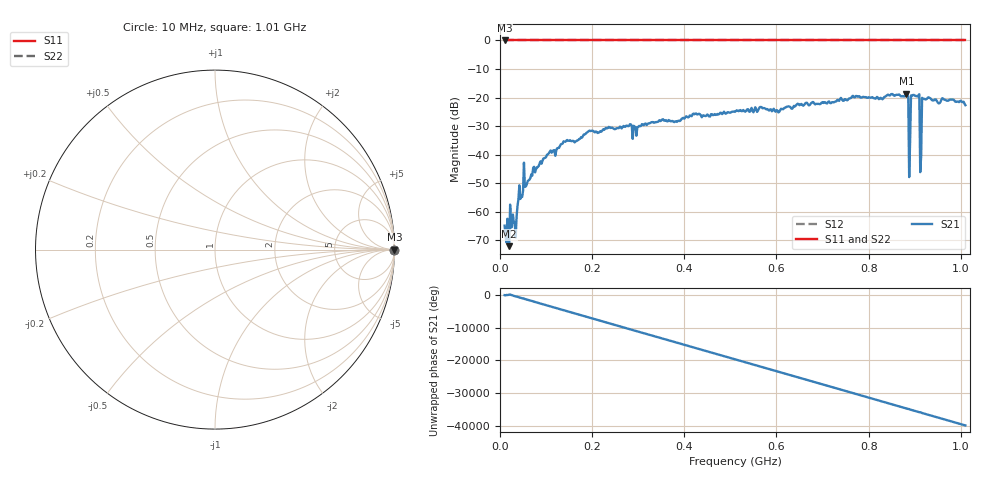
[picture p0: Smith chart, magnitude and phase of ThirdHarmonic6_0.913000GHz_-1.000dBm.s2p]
! 8/16/2025 5:52:35 AM
! C:\ANRITSUVNA\TEMP\TEMP.S2P
! CHANNEL.1
! TR.MEASUREMENT
! RAW.DATA
! RF.CORRECTION.OFF
! AVERAGING.OFF
! IF.BANDWIDTH: 5KHZ
! SWEEPTYPE:  FREQ.SWEEP(Linear)
! Reference Plane Port Info
! PORT:  PORT1  PORT2
! DISTANCE:  0  m  0  m
! TIME:  0  s  0  s
! PHASE.OFFSET:  0  deg.  0  deg.
! LOSS:  0  dB  0  dB
! REF.LOSS:  0  dB  0  dB
! REF.FREQ:  0  Hz  0  Hz
! Power Info
! POWER:  -20  dBm  -20  dBm
! EFF.POWER:  -20  dBm  -20  dBm
! SOURCE.ATTEN:  0  dB  0  dB
! TEST.ATTEN:  0  dB  0  dB
# GHZ S RI R 50.0
! FREQ.GHZ  S11RE  S11IM  S21RE  S21IM  S12RE  S12IM  S22RE  S22IM
!; PortSelection: Port_12
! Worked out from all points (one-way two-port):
!   501 points, 10 MHz to 1.01 GHz, reference 50 ohm
!   highest |S21| = -18.66 dB at 882 MHz (marker M1); lowest = -72.0 dB at 20 MHz (marker M2)
!   lowest |S11| = 0.0 dB at 10 MHz (marker M3)
!   |S11| at or under -10 dB: nowhere
!   |S22| runs from 0.0 to 0.0 dB; largest |S21 - S12| = 1.1
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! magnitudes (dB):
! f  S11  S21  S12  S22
! 10 MHz  0.0  -64.8  0.0  0.0
! 16 MHz  0.0  -62.4  0.0  0.0
! 20 MHz  0.0  -72.0  0.0  0.0
! 34 MHz  0.0  -69.0  0.0  0.0
! 42 MHz  0.0  -50.7  0.0  0.0
! 54 MHz  0.0  -51.3  0.0  0.0
! 76 MHz  0.0  -46.2  0.0  0.0
! 142 MHz  0.0  -35.5  0.0  0.0
! 178 MHz  0.0  -34.0  0.0  0.0
! 344 MHz  0.0  -28.3  0.0  0.0
! 510 MHz  0.0  -25.0  0.0  0.0
! 678 MHz  0.0  -21.6  0.0  0.0
! 844 MHz  0.0  -19.2  0.0  0.0
! 882 MHz  0.0  -18.7  0.0  0.0
! 886 MHz  0.0  -19.8  0.0  0.0
! 892 MHz  0.0  -19.3  0.0  0.0
! 896 MHz  0.0  -19.1  0.0  0.0
! 906 MHz  0.0  -19.6  0.0  0.0
! 910 MHz  0.0  -18.8  0.0  0.0
! 916 MHz  0.0  -20.1  0.0  0.0
! 920 MHz  0.0  -20.5  0.0  0.0
! 1.01 GHz  0.0  -22.7  0.0  0.0
